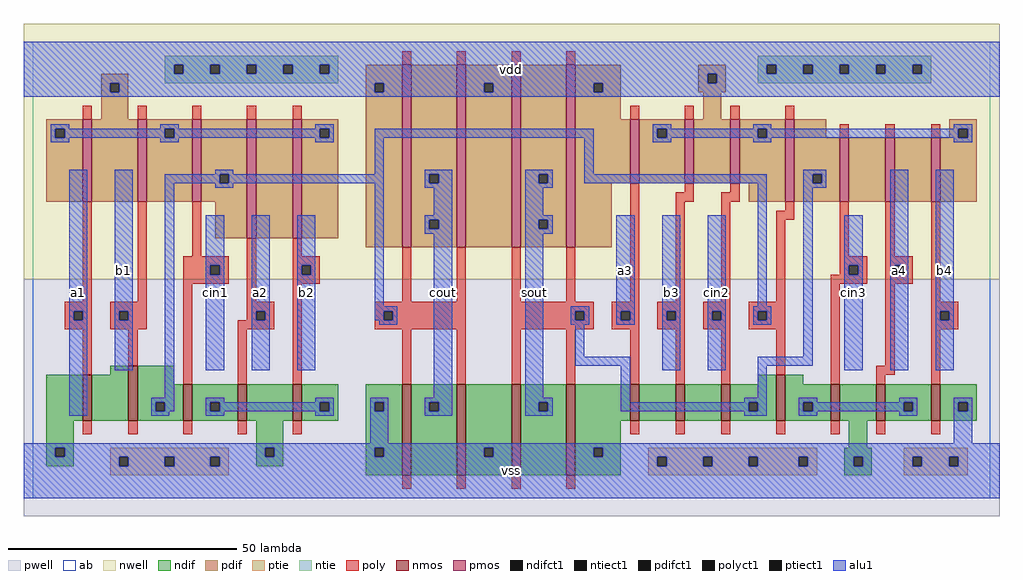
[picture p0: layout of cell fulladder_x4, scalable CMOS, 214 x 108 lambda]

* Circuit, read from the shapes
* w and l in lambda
.subckt fulladder_x4 a1 a2 a3 a4 b1 b2 b3 b4 cin1 cin2 cin3 cout sout vdd vss
M1 n1 a1 vss vss nfet w=10 l=2
M2 n2 b1 n1 vss nfet w=12 l=2
M3 n3 cin1 n2 vss nfet w=8 l=2
M4 vss a2 n3 vss nfet w=8 l=2
M5 n3 b2 vss vss nfet w=8 l=2
M6 cout n2 vss vss nfet w=20 l=2 m=2
M7 sout n4 vss vss nfet w=20 l=2 m=2
M8 n5 a3 vss vss nfet w=8 l=2
M9 n6 b3 n5 vss nfet w=8 l=2
M10 n4 cin2 n6 vss nfet w=8 l=2
M11 n7 n2 n4 vss nfet w=10 l=2
M12 vss cin3 n7 vss nfet w=8 l=2
M13 n7 a4 vss vss nfet w=8 l=2
M14 vss b4 n7 vss nfet w=8 l=2
M15 vdd a1 n8 vdd pfet w=18 l=2
M16 n8 b1 vdd vdd pfet w=18 l=2
M17 n2 cin1 n8 vdd pfet w=18 l=2
M18 n9 a2 n2 vdd pfet w=26 l=2
M19 n8 b2 n9 vdd pfet w=26 l=2
M20 cout n2 vdd vdd pfet w=40 l=2 m=2
M21 sout n4 vdd vdd pfet w=40 l=2 m=2
M22 n10 a3 vdd vdd pfet w=14 l=2
M23 vdd b3 n10 vdd pfet w=14 l=2
M24 n10 cin2 vdd vdd pfet w=14 l=2
M25 n4 n2 n10 vdd pfet w=18 l=2
M26 n11 cin3 n4 vdd pfet w=14 l=2
M27 n12 a4 n11 vdd pfet w=14 l=2
M28 n10 b4 n12 vdd pfet w=14 l=2
.ends

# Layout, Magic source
magic
tech scmos
<< ab >>
rect 0 0 210 100
<< nwell >>
rect -2 48 212 104
<< pwell >>
rect -2 -4 212 48
<< poly >>
rect 81 95 83 98
rect 93 95 95 98
rect 105 95 107 98
rect 117 95 119 98
rect 11 83 13 86
rect 23 83 25 86
rect 35 83 37 86
rect 47 83 49 86
rect 57 83 59 86
rect 11 43 13 65
rect 23 43 25 65
rect 35 53 37 65
rect 7 41 13 43
rect 7 39 9 41
rect 11 39 13 41
rect 7 37 13 39
rect 17 41 25 43
rect 17 39 19 41
rect 21 39 25 41
rect 17 37 25 39
rect 33 51 43 53
rect 33 49 39 51
rect 41 49 43 51
rect 33 47 43 49
rect 11 27 13 37
rect 21 29 23 37
rect 33 25 35 47
rect 47 43 49 57
rect 57 53 59 57
rect 131 83 133 86
rect 143 83 145 86
rect 153 83 155 86
rect 165 83 167 86
rect 57 51 63 53
rect 57 49 59 51
rect 61 49 63 51
rect 57 47 63 49
rect 47 41 53 43
rect 47 39 49 41
rect 51 39 53 41
rect 45 37 53 39
rect 45 25 47 37
rect 57 25 59 47
rect 81 43 83 55
rect 93 43 95 55
rect 75 41 95 43
rect 75 39 77 41
rect 79 39 95 41
rect 75 37 95 39
rect 81 25 83 37
rect 93 25 95 37
rect 105 43 107 55
rect 117 43 119 55
rect 131 43 133 69
rect 143 67 145 69
rect 153 67 155 69
rect 141 65 145 67
rect 151 65 155 67
rect 177 79 179 82
rect 187 79 189 82
rect 197 79 199 82
rect 141 43 143 65
rect 151 43 153 65
rect 165 63 167 65
rect 163 61 167 63
rect 163 43 165 61
rect 177 53 179 65
rect 187 53 189 65
rect 177 51 183 53
rect 177 49 179 51
rect 181 49 183 51
rect 105 41 123 43
rect 105 39 119 41
rect 121 39 123 41
rect 105 37 123 39
rect 127 41 133 43
rect 127 39 129 41
rect 131 39 133 41
rect 127 37 133 39
rect 137 41 143 43
rect 137 39 139 41
rect 141 39 143 41
rect 137 37 143 39
rect 147 41 153 43
rect 147 39 149 41
rect 151 39 153 41
rect 147 37 153 39
rect 157 41 165 43
rect 157 39 159 41
rect 161 39 165 41
rect 157 37 165 39
rect 105 25 107 37
rect 117 25 119 37
rect 131 25 133 37
rect 141 25 143 37
rect 151 25 153 37
rect 163 27 165 37
rect 175 47 183 49
rect 187 51 193 53
rect 187 49 189 51
rect 191 49 193 51
rect 187 47 193 49
rect 11 14 13 17
rect 21 14 23 17
rect 33 14 35 17
rect 45 14 47 17
rect 57 14 59 17
rect 175 25 177 47
rect 187 29 189 47
rect 185 27 189 29
rect 197 43 199 65
rect 197 41 203 43
rect 197 39 199 41
rect 201 39 203 41
rect 197 37 203 39
rect 185 25 187 27
rect 197 25 199 37
rect 131 14 133 17
rect 141 14 143 17
rect 151 14 153 17
rect 163 14 165 17
rect 175 14 177 17
rect 185 14 187 17
rect 197 14 199 17
rect 81 2 83 5
rect 93 2 95 5
rect 105 2 107 5
rect 117 2 119 5
<< ndif >>
rect 17 27 21 29
rect 3 17 11 27
rect 13 17 21 27
rect 23 25 31 29
rect 159 25 163 27
rect 23 21 33 25
rect 23 19 27 21
rect 29 19 33 21
rect 23 17 33 19
rect 35 21 45 25
rect 35 19 39 21
rect 41 19 45 21
rect 35 17 45 19
rect 47 17 57 25
rect 59 21 67 25
rect 59 19 63 21
rect 65 19 67 21
rect 59 17 67 19
rect 73 21 81 25
rect 73 19 75 21
rect 77 19 81 21
rect 3 11 9 17
rect 49 11 55 17
rect 3 9 5 11
rect 7 9 9 11
rect 3 7 9 9
rect 49 9 51 11
rect 53 9 55 11
rect 49 7 55 9
rect 73 11 81 19
rect 73 9 75 11
rect 77 9 81 11
rect 73 5 81 9
rect 83 21 93 25
rect 83 19 87 21
rect 89 19 93 21
rect 83 5 93 19
rect 95 11 105 25
rect 95 9 99 11
rect 101 9 105 11
rect 95 5 105 9
rect 107 21 117 25
rect 107 19 111 21
rect 113 19 117 21
rect 107 5 117 19
rect 119 17 131 25
rect 133 17 141 25
rect 143 17 151 25
rect 153 21 163 25
rect 153 19 157 21
rect 159 19 163 21
rect 153 17 163 19
rect 165 25 169 27
rect 165 21 175 25
rect 165 19 169 21
rect 171 19 175 21
rect 165 17 175 19
rect 177 17 185 25
rect 187 21 197 25
rect 187 19 191 21
rect 193 19 197 21
rect 187 17 197 19
rect 199 21 207 25
rect 199 19 203 21
rect 205 19 207 21
rect 199 17 207 19
rect 119 11 129 17
rect 179 11 183 17
rect 119 9 123 11
rect 125 9 129 11
rect 119 5 129 9
rect 178 9 184 11
rect 178 7 180 9
rect 182 7 184 9
rect 178 5 184 7
<< pdif >>
rect 15 91 21 93
rect 73 91 81 95
rect 15 89 17 91
rect 19 89 21 91
rect 15 83 21 89
rect 73 89 75 91
rect 77 89 81 91
rect 3 81 11 83
rect 3 79 5 81
rect 7 79 11 81
rect 3 65 11 79
rect 13 65 23 83
rect 25 81 35 83
rect 25 79 29 81
rect 31 79 35 81
rect 25 65 35 79
rect 37 71 47 83
rect 37 69 41 71
rect 43 69 47 71
rect 37 65 47 69
rect 40 57 47 65
rect 49 57 57 83
rect 59 81 67 83
rect 59 79 63 81
rect 65 79 67 81
rect 59 57 67 79
rect 73 55 81 89
rect 83 71 93 95
rect 83 69 87 71
rect 89 69 93 71
rect 83 61 93 69
rect 83 59 87 61
rect 89 59 93 61
rect 83 55 93 59
rect 95 91 105 95
rect 95 89 99 91
rect 101 89 105 91
rect 95 55 105 89
rect 107 71 117 95
rect 107 69 111 71
rect 113 69 117 71
rect 107 61 117 69
rect 107 59 111 61
rect 113 59 117 61
rect 107 55 117 59
rect 119 91 129 95
rect 119 89 123 91
rect 125 89 129 91
rect 146 93 152 95
rect 146 91 148 93
rect 150 91 152 93
rect 146 89 152 91
rect 119 83 129 89
rect 147 83 151 89
rect 119 69 131 83
rect 133 81 143 83
rect 133 79 137 81
rect 139 79 143 81
rect 133 69 143 79
rect 145 69 153 83
rect 155 81 165 83
rect 155 79 159 81
rect 161 79 165 81
rect 155 69 165 79
rect 119 55 127 69
rect 157 65 165 69
rect 167 79 174 83
rect 201 81 207 83
rect 201 79 203 81
rect 205 79 207 81
rect 167 71 177 79
rect 167 69 171 71
rect 173 69 177 71
rect 167 65 177 69
rect 179 65 187 79
rect 189 65 197 79
rect 199 65 207 79
<< alu1 >>
rect -2 95 212 100
rect -2 93 31 95
rect 33 93 39 95
rect 41 93 47 95
rect 49 93 55 95
rect 57 93 63 95
rect 65 93 161 95
rect 163 93 169 95
rect 171 93 177 95
rect 179 93 185 95
rect 187 93 193 95
rect 195 93 212 95
rect -2 91 148 93
rect 150 91 212 93
rect -2 89 17 91
rect 19 89 75 91
rect 77 89 99 91
rect 101 89 123 91
rect 125 89 212 91
rect -2 88 212 89
rect 4 81 8 82
rect 28 81 32 82
rect 62 81 66 82
rect 136 81 140 82
rect 158 81 162 82
rect 202 81 206 82
rect 4 79 5 81
rect 7 79 29 81
rect 31 79 63 81
rect 65 79 66 81
rect 4 78 8 79
rect 28 78 32 79
rect 62 78 66 79
rect 75 79 123 81
rect 8 41 12 72
rect 8 39 9 41
rect 11 39 12 41
rect 8 18 12 39
rect 18 41 22 72
rect 40 71 44 72
rect 75 71 77 79
rect 18 39 19 41
rect 21 39 22 41
rect 18 28 22 39
rect 29 69 41 71
rect 43 69 77 71
rect 29 22 31 69
rect 40 68 44 69
rect 38 51 42 62
rect 38 49 39 51
rect 41 49 42 51
rect 38 28 42 49
rect 48 41 52 62
rect 48 39 49 41
rect 51 39 52 41
rect 48 28 52 39
rect 58 51 62 62
rect 58 49 59 51
rect 61 49 62 51
rect 58 28 62 49
rect 75 42 77 69
rect 86 71 92 72
rect 86 69 87 71
rect 89 69 92 71
rect 86 68 92 69
rect 88 62 92 68
rect 86 61 92 62
rect 86 59 87 61
rect 89 59 92 61
rect 86 58 92 59
rect 75 41 80 42
rect 75 39 77 41
rect 79 39 80 41
rect 76 38 80 39
rect 88 22 92 58
rect 26 21 31 22
rect 26 19 27 21
rect 29 19 31 21
rect 38 21 42 22
rect 62 21 66 22
rect 38 19 39 21
rect 41 19 63 21
rect 65 19 66 21
rect 26 18 30 19
rect 38 18 42 19
rect 62 18 66 19
rect 74 21 78 22
rect 74 19 75 21
rect 77 19 78 21
rect 74 12 78 19
rect 86 21 92 22
rect 86 19 87 21
rect 89 19 92 21
rect 86 18 92 19
rect 108 71 114 72
rect 108 69 111 71
rect 113 69 114 71
rect 121 71 123 79
rect 136 79 137 81
rect 139 79 159 81
rect 161 79 203 81
rect 205 79 206 81
rect 136 78 140 79
rect 158 78 162 79
rect 202 78 206 79
rect 169 71 174 72
rect 121 69 161 71
rect 108 68 114 69
rect 108 62 112 68
rect 108 61 114 62
rect 108 59 111 61
rect 113 59 114 61
rect 108 58 114 59
rect 108 22 112 58
rect 118 41 122 42
rect 118 39 119 41
rect 121 39 122 41
rect 118 38 122 39
rect 128 41 132 62
rect 128 39 129 41
rect 131 39 132 41
rect 128 38 132 39
rect 138 41 142 62
rect 138 39 139 41
rect 141 39 142 41
rect 119 31 121 38
rect 119 29 131 31
rect 108 21 114 22
rect 108 19 111 21
rect 113 19 114 21
rect 129 21 131 29
rect 138 28 142 39
rect 148 41 152 62
rect 159 42 161 69
rect 169 69 171 71
rect 173 69 174 71
rect 169 68 174 69
rect 148 39 149 41
rect 151 39 152 41
rect 148 28 152 39
rect 158 41 162 42
rect 158 39 159 41
rect 161 39 162 41
rect 158 38 162 39
rect 169 31 171 68
rect 159 29 171 31
rect 178 51 182 62
rect 178 49 179 51
rect 181 49 182 51
rect 159 22 161 29
rect 178 28 182 49
rect 188 51 192 72
rect 188 49 189 51
rect 191 49 192 51
rect 188 28 192 49
rect 198 41 202 72
rect 198 39 199 41
rect 201 39 202 41
rect 198 28 202 39
rect 156 21 161 22
rect 129 19 157 21
rect 159 19 161 21
rect 108 18 114 19
rect 156 18 161 19
rect 168 21 172 22
rect 190 21 194 22
rect 168 19 169 21
rect 171 19 191 21
rect 193 19 194 21
rect 168 18 172 19
rect 190 18 194 19
rect 202 21 206 22
rect 202 19 203 21
rect 205 19 206 21
rect 202 12 206 19
rect -2 11 212 12
rect -2 9 5 11
rect 7 9 51 11
rect 53 9 75 11
rect 77 9 99 11
rect 101 9 123 11
rect 125 9 212 11
rect -2 7 19 9
rect 21 7 29 9
rect 31 7 39 9
rect 41 7 137 9
rect 139 7 147 9
rect 149 7 157 9
rect 159 7 168 9
rect 170 7 180 9
rect 182 7 193 9
rect 195 7 201 9
rect 203 7 212 9
rect -2 0 212 7
<< ptie >>
rect 17 9 43 11
rect 17 7 19 9
rect 21 7 29 9
rect 31 7 39 9
rect 41 7 43 9
rect 17 5 43 7
rect 135 9 172 11
rect 135 7 137 9
rect 139 7 147 9
rect 149 7 157 9
rect 159 7 168 9
rect 170 7 172 9
rect 135 5 172 7
rect 191 9 205 11
rect 191 7 193 9
rect 195 7 201 9
rect 203 7 205 9
rect 191 5 205 7
<< ntie >>
rect 29 95 67 97
rect 159 95 197 97
rect 29 93 31 95
rect 33 93 39 95
rect 41 93 47 95
rect 49 93 55 95
rect 57 93 63 95
rect 65 93 67 95
rect 29 91 67 93
rect 159 93 161 95
rect 163 93 169 95
rect 171 93 177 95
rect 179 93 185 95
rect 187 93 193 95
rect 195 93 197 95
rect 159 91 197 93
<< nmos >>
rect 11 17 13 27
rect 21 17 23 29
rect 33 17 35 25
rect 45 17 47 25
rect 57 17 59 25
rect 81 5 83 25
rect 93 5 95 25
rect 105 5 107 25
rect 117 5 119 25
rect 131 17 133 25
rect 141 17 143 25
rect 151 17 153 25
rect 163 17 165 27
rect 175 17 177 25
rect 185 17 187 25
rect 197 17 199 25
<< pmos >>
rect 11 65 13 83
rect 23 65 25 83
rect 35 65 37 83
rect 47 57 49 83
rect 57 57 59 83
rect 81 55 83 95
rect 93 55 95 95
rect 105 55 107 95
rect 117 55 119 95
rect 131 69 133 83
rect 143 69 145 83
rect 153 69 155 83
rect 165 65 167 83
rect 177 65 179 79
rect 187 65 189 79
rect 197 65 199 79
<< polyct1 >>
rect 9 39 11 41
rect 19 39 21 41
rect 39 49 41 51
rect 59 49 61 51
rect 49 39 51 41
rect 77 39 79 41
rect 179 49 181 51
rect 119 39 121 41
rect 129 39 131 41
rect 139 39 141 41
rect 149 39 151 41
rect 159 39 161 41
rect 189 49 191 51
rect 199 39 201 41
<< ndifct1 >>
rect 27 19 29 21
rect 39 19 41 21
rect 63 19 65 21
rect 75 19 77 21
rect 5 9 7 11
rect 51 9 53 11
rect 75 9 77 11
rect 87 19 89 21
rect 99 9 101 11
rect 111 19 113 21
rect 157 19 159 21
rect 169 19 171 21
rect 191 19 193 21
rect 203 19 205 21
rect 123 9 125 11
rect 180 7 182 9
<< ntiect1 >>
rect 31 93 33 95
rect 39 93 41 95
rect 47 93 49 95
rect 55 93 57 95
rect 63 93 65 95
rect 161 93 163 95
rect 169 93 171 95
rect 177 93 179 95
rect 185 93 187 95
rect 193 93 195 95
<< ptiect1 >>
rect 19 7 21 9
rect 29 7 31 9
rect 39 7 41 9
rect 137 7 139 9
rect 147 7 149 9
rect 157 7 159 9
rect 168 7 170 9
rect 193 7 195 9
rect 201 7 203 9
<< pdifct1 >>
rect 17 89 19 91
rect 75 89 77 91
rect 5 79 7 81
rect 29 79 31 81
rect 41 69 43 71
rect 63 79 65 81
rect 87 69 89 71
rect 87 59 89 61
rect 99 89 101 91
rect 111 69 113 71
rect 111 59 113 61
rect 123 89 125 91
rect 148 91 150 93
rect 137 79 139 81
rect 159 79 161 81
rect 203 79 205 81
rect 171 69 173 71
<< labels >>
rlabel alu1 10 45 10 45 6 a1
rlabel alu1 20 50 20 50 6 b1
rlabel alu1 60 45 60 45 6 b2
rlabel alu1 50 45 50 45 6 a2
rlabel alu1 40 45 40 45 6 cin1
rlabel alu1 105 6 105 6 6 vss
rlabel alu1 110 45 110 45 6 sout
rlabel alu1 90 45 90 45 6 cout
rlabel alu1 105 94 105 94 6 vdd
rlabel alu1 150 45 150 45 6 cin2
rlabel alu1 140 45 140 45 6 b3
rlabel alu1 130 50 130 50 6 a3
rlabel alu1 180 45 180 45 6 cin3
rlabel alu1 200 50 200 50 6 b4
rlabel polyct1 190 50 190 50 6 a4
<< end >>
